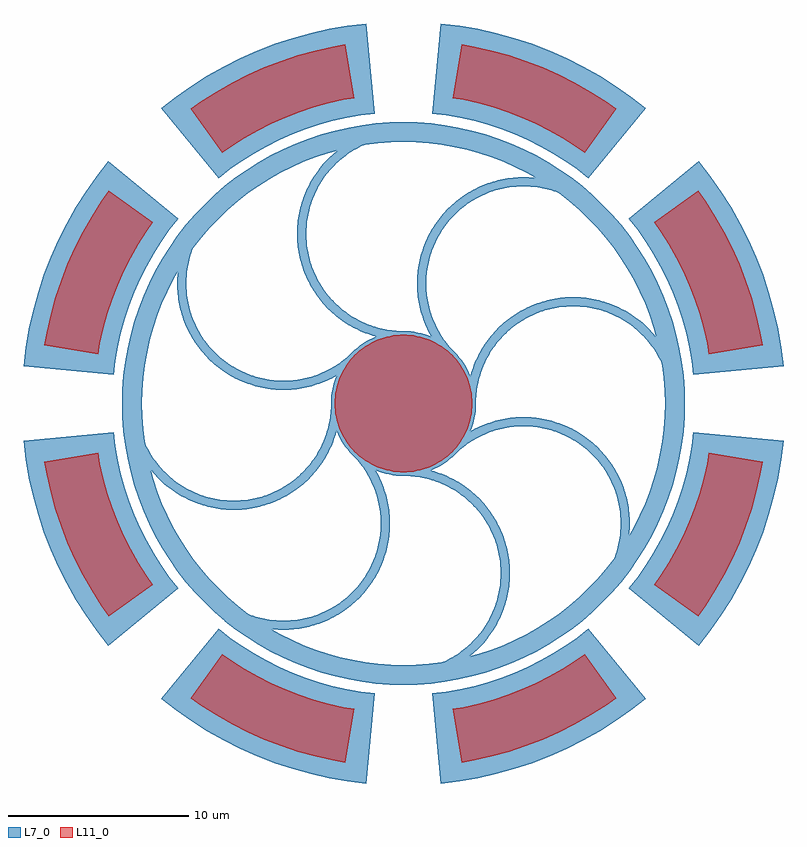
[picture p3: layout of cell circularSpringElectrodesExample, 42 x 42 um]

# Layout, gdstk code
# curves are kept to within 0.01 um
import gdstk
lib = gdstk.Library(unit=1e-6, precision=1e-09)
def P(c, l, *ps):  # polygons
    for p in ps: c.add(gdstk.Polygon(p, *l))
L7_0 = (7, 0)
L11_0 = (11, 0)

circularspringelectrodes = lib.new_cell('circularSpringElectrodesExample')
P(circularspringelectrodes, L7_0, [(-2.068,-20.998),(-3.096,-20.872),(-4.116,-20.695),(-5.127,-20.468),(-6.125,-20.191),(-7.108,-19.867),(-8.075,-19.494),(-9.021,-19.074),(-9.946,-18.609),(-10.848,-18.098),(-11.723,-17.544),(-12.569,-16.948),(-13.386,-16.311),(-10.214,-12.445),(-9.591,-12.932),(-8.945,-13.387),(-8.277,-13.809),(-7.589,-14.199),(-6.884,-14.554),(-6.161,-14.874),(-5.424,-15.159),(-4.674,-15.407),(-3.912,-15.618),(-3.141,-15.791),(-2.362,-15.926),(-1.578,-16.022)],
  [(-16.311,-13.386),(-16.948,-12.569),(-17.544,-11.723),(-18.098,-10.848),(-18.609,-9.946),(-19.074,-9.021),(-19.494,-8.075),(-19.867,-7.108),(-20.191,-6.125),(-20.468,-5.127),(-20.695,-4.116),(-20.872,-3.096),(-20.998,-2.068),(-16.022,-1.578),(-15.926,-2.362),(-15.791,-3.141),(-15.618,-3.912),(-15.407,-4.674),(-15.159,-5.424),(-14.874,-6.161),(-14.554,-6.884),(-14.199,-7.589),(-13.809,-8.277),(-13.387,-8.945),(-12.932,-9.591),(-12.445,-10.214)],
  [(0,-15.55),(-0.763,-15.531),(-1.524,-15.475),(-2.282,-15.382),(-3.034,-15.251),(-3.778,-15.084),(-4.514,-14.88),(-5.239,-14.641),(-5.951,-14.366),(-6.648,-14.057),(-7.33,-13.714),(-7.994,-13.338),(-8.639,-12.929),(-9.263,-12.49),(-9.884,-12.004),(-6.365,-11.998),(-5.971,-11.964),(-5.581,-11.901),(-4.943,-11.733),(-4.451,-11.543),(-3.98,-11.306),(-3.534,-11.024),(-3.219,-10.784),(-2.828,-10.43),(-2.559,-10.14),(-2.312,-9.831),(-2.019,-9.392),(-1.828,-9.046),(-1.614,-8.564),(-1.449,-8.063),(-1.333,-7.548),(-1.28,-7.156),(-1.254,-6.629),(-1.28,-6.102),(-1.357,-5.581),(-1.449,-5.196),(-1.568,-4.818),(-1.715,-4.451),(-1.952,-3.98),(-2.16,-3.643),(-2.392,-3.322),(-2.647,-3.019),(-2.964,-2.686),(-3.213,-2.383),(-3.528,-1.886),(-3.7,-1.519),(-3.843,-1.979),(-3.947,-2.248),(-4.127,-2.641),(-4.336,-3.02),(-4.49,-3.264),(-4.743,-3.614),(-5.022,-3.945),(-5.324,-4.255),(-5.648,-4.541),(-5.992,-4.803),(-6.355,-5.039),(-6.734,-5.248),(-6.994,-5.371),(-7.396,-5.532),(-7.808,-5.662),(-8.229,-5.762),(-8.656,-5.831),(-9.087,-5.868),(-9.375,-5.875),(-9.807,-5.859),(-10.094,-5.831),(-10.521,-5.762),(-10.942,-5.662),(-11.354,-5.532),(-11.756,-5.371),(-12.016,-5.248),(-12.395,-5.039),(-12.758,-4.803),(-13.102,-4.541),(-13.426,-4.255),(-13.728,-3.945),(-13.979,-3.649),(-13.828,-4.195),(-13.605,-4.868),(-13.35,-5.53),(-13.063,-6.178),(-12.744,-6.812),(-12.394,-7.429),(-12.015,-8.028),(-11.606,-8.608),(-11.17,-9.167),(-10.707,-9.704),(-10.218,-10.218),(-9.704,-10.707),(-9.167,-11.17),(-8.544,-11.651),(-8.063,-11.809),(-7.548,-11.925),(-7.025,-11.99),(-6.629,-12.004),(-9.884,-12.004),(-10.443,-11.522),(-10.996,-10.996),(-11.522,-10.443),(-12.02,-9.865),(-12.49,-9.263),(-12.929,-8.639),(-13.338,-7.994),(-13.714,-7.33),(-14.057,-6.648),(-14.366,-5.951),(-14.641,-5.239),(-14.88,-4.514),(-15.084,-3.778),(-15.251,-3.034),(-15.382,-2.282),(-15.475,-1.524),(-15.531,-0.763),(-15.55,0),(-14.45,0),(-14.433,-0.709),(-14.38,-1.416),(-14.28,-2.197),(-14.052,-2.649),(-13.692,-3.202),(-13.358,-3.61),(-12.886,-4.07),(-12.47,-4.395),(-12.024,-4.677),(-11.553,-4.914),(-11.186,-5.061),(-10.681,-5.214),(-10.294,-5.296),(-9.902,-5.349),(-9.375,-5.375),(-8.848,-5.349),(-8.326,-5.272),(-7.815,-5.144),(-7.318,-4.966),(-6.841,-4.74),(-6.389,-4.469),(-5.965,-4.155),(-5.574,-3.801),(-5.22,-3.41),(-4.906,-2.986),(-4.635,-2.534),(-4.409,-2.057),(-4.231,-1.56),(-4.103,-1.049),(-4.026,-0.527),(-4,0),(0,0),(0,-4),(-0.392,-3.981),(-0.78,-3.923),(-1.161,-3.828),(-1.542,-3.69),(-1.381,-3.988),(-1.201,-4.381),(-1.051,-4.786),(-0.967,-5.062),(-0.867,-5.483),(-0.798,-5.91),(-0.761,-6.341),(-0.754,-6.629),(-0.761,-6.917),(-0.798,-7.348),(-0.867,-7.775),(-0.93,-8.057),(-1.051,-8.472),(-1.201,-8.877),(-1.381,-9.271),(-1.517,-9.525),(-1.744,-9.893),(-1.998,-10.244),(-2.276,-10.575),(-2.578,-10.884),(-2.902,-11.171),(-3.246,-11.432),(-3.609,-11.668),(-3.988,-11.877),(-4.381,-12.057),(-4.786,-12.208),(-5.202,-12.328),(-5.625,-12.418),(-6.053,-12.476),(-6.485,-12.502),(-6.917,-12.497),(-7.304,-12.465),(-6.812,-12.744),(-6.178,-13.063),(-5.53,-13.35),(-4.868,-13.605),(-4.195,-13.828),(-3.511,-14.017),(-2.819,-14.172),(-2.12,-14.294),(-1.416,-14.38),(-0.709,-14.433),(0,-14.45)],
  [(2.068,-20.998),(1.578,-16.022),(2.362,-15.926),(3.141,-15.791),(3.912,-15.618),(4.674,-15.407),(5.424,-15.159),(6.161,-14.874),(6.884,-14.554),(7.589,-14.199),(8.277,-13.809),(8.945,-13.387),(9.591,-12.932),(10.214,-12.445),(13.386,-16.311),(12.569,-16.948),(11.723,-17.544),(10.848,-18.098),(9.946,-18.609),(9.021,-19.074),(8.075,-19.494),(7.108,-19.867),(6.125,-20.191),(5.127,-20.468),(4.116,-20.695),(3.096,-20.872)],
  [(10.214,-12.445),(10.214,-12.445),(10.214,-12.445)],
  [(16.311,-13.386),(12.445,-10.214),(12.932,-9.591),(13.387,-8.945),(13.809,-8.277),(14.199,-7.589),(14.554,-6.884),(14.874,-6.161),(15.159,-5.424),(15.407,-4.674),(15.618,-3.912),(15.791,-3.141),(15.926,-2.362),(16.022,-1.578),(20.998,-2.068),(20.872,-3.096),(20.695,-4.116),(20.468,-5.127),(20.191,-6.125),(19.867,-7.108),(19.494,-8.075),(19.074,-9.021),(18.609,-9.946),(18.098,-10.848),(17.544,-11.723),(16.948,-12.569)],
  [(0,-15.55),(0,-14.45),(0.709,-14.433),(1.416,-14.38),(2.12,-14.294),(2.197,-14.28),(2.298,-14.234),(2.774,-13.979),(3.649,-13.979),(4.195,-13.828),(4.868,-13.605),(5.53,-13.35),(6.178,-13.063),(6.812,-12.744),(7.429,-12.394),(8.028,-12.015),(8.608,-11.606),(9.167,-11.17),(9.704,-10.707),(10.218,-10.218),(10.707,-9.704),(11.17,-9.167),(11.651,-8.544),(11.809,-8.063),(11.925,-7.548),(11.99,-7.025),(12.004,-6.629),(11.99,-6.234),(11.946,-5.84),(11.874,-5.451),(11.733,-4.943),(11.595,-4.572),(11.43,-4.212),(11.17,-3.754),(10.946,-3.427),(10.612,-3.019),(10.335,-2.736),(10.039,-2.474),(9.615,-2.16),(9.278,-1.952),(8.807,-1.715),(8.44,-1.568),(8.063,-1.449),(7.678,-1.357),(7.287,-1.295),(6.893,-1.261),(6.497,-1.256),(6.102,-1.28),(5.71,-1.333),(5.323,-1.415),(4.943,-1.525),(4.331,-1.77),(3.98,-1.952),(3.754,-2.088),(3.219,-2.474),(2.686,-2.964),(2.383,-3.213),(1.886,-3.528),(1.519,-3.7),(1.979,-3.843),(2.381,-4.004),(2.769,-4.194),(3.143,-4.411),(3.5,-4.656),(3.837,-4.926),(4.154,-5.221),(4.449,-5.538),(4.719,-5.875),(4.964,-6.232),(5.181,-6.606),(5.371,-6.994),(5.532,-7.396),(5.662,-7.808),(5.762,-8.229),(5.831,-8.656),(5.868,-9.087),(5.868,-9.663),(5.831,-10.094),(5.762,-10.521),(5.662,-10.942),(5.532,-11.354),(5.371,-11.756),(5.112,-12.271),(4.803,-12.758),(4.449,-13.212),(4.051,-13.63),(3.649,-13.979),(2.774,-13.979),(3.095,-13.77),(3.41,-13.53),(3.706,-13.268),(3.983,-12.985),(4.317,-12.577),(4.541,-12.251),(4.74,-11.909),(4.914,-11.553),(5.061,-11.186),(5.18,-10.809),(5.272,-10.424),(5.335,-10.033),(5.369,-9.639),(5.369,-9.111),(5.335,-8.717),(5.272,-8.326),(5.144,-7.815),(5.015,-7.441),(4.801,-6.958),(4.61,-6.612),(4.395,-6.28),(4.07,-5.864),(3.801,-5.574),(3.41,-5.22),(3.095,-4.98),(2.649,-4.698),(2.178,-4.461),(1.811,-4.314),(1.306,-4.161),(0.919,-4.079),(0.527,-4.026),(0,-4),(0,0),(4,0),(3.981,-0.392),(3.923,-0.78),(3.828,-1.161),(3.69,-1.542),(3.988,-1.381),(4.381,-1.201),(4.786,-1.051),(5.062,-0.967),(5.483,-0.867),(5.91,-0.798),(6.341,-0.761),(6.629,-0.754),(6.917,-0.761),(7.348,-0.798),(7.775,-0.867),(8.057,-0.93),(8.472,-1.051),(8.877,-1.201),(9.271,-1.381),(9.525,-1.517),(9.893,-1.744),(10.244,-1.998),(10.575,-2.276),(10.884,-2.578),(11.171,-2.902),(11.432,-3.246),(11.668,-3.609),(11.877,-3.988),(12.057,-4.381),(12.208,-4.786),(12.328,-5.202),(12.418,-5.625),(12.476,-6.053),(12.502,-6.485),(12.497,-6.917),(12.465,-7.304),(12.744,-6.812),(13.063,-6.178),(13.35,-5.53),(13.605,-4.868),(13.828,-4.195),(14.017,-3.511),(14.172,-2.819),(14.294,-2.12),(14.38,-1.416),(14.433,-0.709),(14.45,0),(15.55,0),(15.531,-0.763),(15.475,-1.524),(15.382,-2.282),(15.251,-3.034),(15.084,-3.778),(14.88,-4.514),(14.641,-5.239),(14.366,-5.951),(14.057,-6.648),(13.714,-7.33),(13.338,-7.994),(12.929,-8.639),(12.49,-9.263),(12.02,-9.865),(11.522,-10.443),(10.996,-10.996),(10.443,-11.522),(9.865,-12.02),(9.263,-12.49),(8.639,-12.929),(7.994,-13.338),(7.33,-13.714),(6.648,-14.057),(5.951,-14.366),(5.239,-14.641),(4.514,-14.88),(3.778,-15.084),(3.034,-15.251),(2.282,-15.382),(1.524,-15.475),(0.763,-15.531)],
  [(-16.022,1.578),(-20.998,2.068),(-20.872,3.096),(-20.695,4.116),(-20.468,5.127),(-20.191,6.125),(-19.867,7.108),(-19.494,8.075),(-19.074,9.021),(-18.609,9.946),(-18.098,10.848),(-17.544,11.723),(-16.948,12.569),(-16.311,13.386),(-12.445,10.214),(-12.932,9.591),(-13.387,8.945),(-13.809,8.277),(-14.199,7.589),(-14.554,6.884),(-14.874,6.161),(-15.159,5.424),(-15.407,4.674),(-15.618,3.912),(-15.791,3.141),(-15.926,2.362)],
  [(-15.55,0),(-15.531,0.763),(-15.475,1.524),(-15.382,2.282),(-15.251,3.034),(-15.084,3.778),(-14.88,4.514),(-14.641,5.239),(-14.366,5.951),(-14.057,6.648),(-13.714,7.33),(-13.338,7.994),(-12.929,8.639),(-12.49,9.263),(-12.02,9.865),(-11.522,10.443),(-10.996,10.996),(-10.443,11.522),(-9.865,12.02),(-9.263,12.49),(-8.639,12.929),(-7.994,13.338),(-7.33,13.714),(-6.648,14.057),(-5.951,14.366),(-5.239,14.641),(-4.514,14.88),(-3.778,15.084),(-3.034,15.251),(-2.282,15.382),(-1.524,15.475),(-0.763,15.531),(0,15.55),(0,14.45),(-0.709,14.433),(-1.416,14.38),(-2.197,14.28),(-2.649,14.052),(-3.202,13.692),(-3.61,13.358),(-4.07,12.886),(-4.395,12.47),(-4.677,12.024),(-4.914,11.553),(-5.061,11.186),(-5.214,10.681),(-5.296,10.294),(-5.349,9.902),(-5.375,9.375),(-5.349,8.848),(-5.272,8.326),(-5.144,7.815),(-4.966,7.318),(-4.74,6.841),(-4.469,6.389),(-4.155,5.965),(-3.801,5.574),(-3.41,5.22),(-2.986,4.906),(-2.534,4.635),(-2.057,4.409),(-1.56,4.231),(-1.049,4.103),(-0.527,4.026),(0,4),(0,0),(-4,0),(-3.981,0.392),(-3.923,0.78),(-3.828,1.161),(-3.69,1.542),(-4.248,1.258),(-4.515,1.148),(-4.924,1.007),(-5.202,0.93),(-5.625,0.841),(-6.053,0.782),(-6.341,0.761),(-6.629,0.754),(-7.061,0.77),(-7.348,0.798),(-7.775,0.867),(-8.335,1.007),(-8.744,1.148),(-9.001,1.254),(-6.629,1.254),(-6.234,1.269),(-5.84,1.312),(-5.581,1.357),(-4.943,1.525),(-4.331,1.77),(-3.98,1.952),(-3.754,2.088),(-3.219,2.474),(-2.686,2.964),(-2.383,3.213),(-1.886,3.528),(-1.519,3.7),(-1.979,3.843),(-2.248,3.947),(-2.641,4.127),(-3.02,4.336),(-3.264,4.49),(-3.614,4.743),(-3.945,5.022),(-4.255,5.324),(-4.541,5.648),(-4.803,5.992),(-5.039,6.355),(-5.248,6.734),(-5.371,6.994),(-5.532,7.396),(-5.662,7.808),(-5.762,8.229),(-5.831,8.656),(-5.868,9.087),(-5.875,9.375),(-5.859,9.807),(-5.831,10.094),(-5.762,10.521),(-5.662,10.942),(-5.532,11.354),(-5.371,11.756),(-5.248,12.016),(-5.039,12.395),(-4.803,12.758),(-4.541,13.102),(-4.255,13.426),(-3.945,13.728),(-3.649,13.979),(-4.195,13.828),(-4.868,13.605),(-5.53,13.35),(-6.178,13.063),(-6.812,12.744),(-7.429,12.394),(-8.028,12.015),(-8.608,11.606),(-9.167,11.17),(-9.704,10.707),(-10.218,10.218),(-10.707,9.704),(-11.17,9.167),(-11.651,8.544),(-11.773,8.189),(-11.874,7.807),(-11.964,7.287),(-11.99,7.025),(-12.004,6.629),(-11.998,6.365),(-11.964,5.971),(-11.874,5.451),(-11.69,4.818),(-11.43,4.212),(-11.098,3.643),(-10.784,3.219),(-10.43,2.828),(-9.936,2.392),(-9.505,2.088),(-8.927,1.77),(-8.315,1.525),(-7.807,1.385),(-7.418,1.312),(-7.156,1.28),(-6.629,1.254),(-9.001,1.254),(-9.525,1.517),(-10.012,1.826),(-10.467,2.181),(-10.884,2.578),(-11.171,2.902),(-11.348,3.129),(-11.668,3.609),(-11.94,4.117),(-12.057,4.381),(-12.208,4.786),(-12.328,5.202),(-12.391,5.483),(-12.476,6.053),(-12.504,6.629),(-12.465,7.304),(-12.744,6.812),(-13.063,6.178),(-13.35,5.53),(-13.605,4.868),(-13.828,4.195),(-14.017,3.511),(-14.172,2.819),(-14.294,2.12),(-14.38,1.416),(-14.433,0.709),(-14.45,0)],
  [(-10.214,12.445),(-13.386,16.311),(-12.569,16.948),(-11.723,17.544),(-10.848,18.098),(-9.946,18.609),(-9.021,19.074),(-8.075,19.494),(-7.108,19.867),(-6.125,20.191),(-5.127,20.468),(-4.116,20.695),(-3.096,20.872),(-2.068,20.998),(-1.578,16.022),(-2.362,15.926),(-3.141,15.791),(-3.912,15.618),(-4.674,15.407),(-5.424,15.159),(-6.161,14.874),(-6.884,14.554),(-7.589,14.199),(-8.277,13.809),(-8.945,13.387),(-9.591,12.932)],
  [(16.022,1.578),(15.926,2.362),(15.791,3.141),(15.618,3.912),(15.407,4.674),(15.159,5.424),(14.874,6.161),(14.554,6.884),(14.199,7.589),(13.809,8.277),(13.387,8.945),(12.932,9.591),(12.445,10.214),(16.311,13.386),(16.948,12.569),(17.544,11.723),(18.098,10.848),(18.609,9.946),(19.074,9.021),(19.494,8.075),(19.867,7.108),(20.191,6.125),(20.468,5.127),(20.695,4.116),(20.872,3.096),(20.998,2.068)],
  [(0,0),(0,1.519),(3.7,1.519),(3.843,1.979),(3.947,2.248),(4.064,2.512),(4.263,2.896),(4.411,3.143),(4.656,3.5),(4.926,3.837),(5.221,4.154),(5.538,4.449),(5.875,4.719),(6.232,4.964),(6.479,5.112),(6.863,5.311),(7.127,5.428),(7.532,5.578),(7.947,5.699),(8.371,5.789),(8.799,5.847),(9.231,5.873),(9.663,5.868),(10.094,5.831),(10.521,5.762),(10.942,5.662),(11.354,5.532),(11.756,5.371),(12.016,5.248),(12.395,5.039),(12.758,4.803),(13.102,4.541),(13.426,4.255),(13.728,3.945),(13.979,3.649),(13.828,4.195),(13.605,4.868),(13.35,5.53),(13.063,6.178),(12.744,6.812),(12.394,7.429),(12.015,8.028),(11.606,8.608),(11.17,9.167),(10.707,9.704),(10.218,10.218),(9.704,10.707),(9.167,11.17),(8.544,11.651),(7.935,11.843),(7.287,11.964),(6.893,11.998),(6.497,12.003),(5.84,11.946),(5.451,11.874),(5.069,11.773),(4.572,11.595),(4.212,11.43),(3.866,11.239),(3.534,11.024),(3.219,10.784),(2.923,10.522),(2.647,10.239),(2.392,9.936),(2.16,9.615),(1.952,9.278),(1.77,8.927),(1.614,8.564),(1.449,8.063),(1.357,7.678),(1.295,7.287),(1.261,6.893),(1.256,6.497),(1.28,6.102),(1.333,5.71),(1.415,5.323),(1.614,4.695),(1.828,4.212),(2.16,3.643),(2.474,3.219),(2.964,2.686),(3.213,2.383),(3.528,1.886),(3.7,1.519),(0,1.519),(0,4),(0.392,3.981),(0.78,3.923),(1.161,3.828),(1.542,3.69),(1.381,3.988),(1.201,4.381),(1.051,4.786),(0.93,5.202),(0.841,5.625),(0.782,6.053),(0.761,6.341),(0.756,6.773),(0.782,7.205),(0.818,7.491),(0.897,7.916),(1.007,8.335),(1.148,8.744),(1.318,9.141),(1.517,9.525),(1.744,9.893),(1.998,10.244),(2.276,10.575),(2.578,10.884),(2.792,11.078),(3.129,11.348),(3.486,11.593),(3.733,11.741),(4.117,11.94),(4.381,12.057),(4.786,12.208),(5.202,12.328),(5.625,12.418),(6.053,12.476),(6.485,12.502),(6.917,12.497),(7.304,12.465),(6.812,12.744),(6.178,13.063),(5.53,13.35),(4.868,13.605),(4.195,13.828),(3.511,14.017),(2.819,14.172),(2.12,14.294),(1.416,14.38),(0.709,14.433),(0,14.45),(0,15.55),(0.763,15.531),(1.524,15.475),(2.282,15.382),(3.034,15.251),(3.778,15.084),(4.514,14.88),(5.239,14.641),(5.951,14.366),(6.648,14.057),(7.33,13.714),(7.994,13.338),(8.639,12.929),(9.263,12.49),(9.865,12.02),(10.443,11.522),(10.996,10.996),(11.522,10.443),(12.02,9.865),(12.49,9.263),(12.929,8.639),(13.338,7.994),(13.714,7.33),(14.057,6.648),(14.366,5.951),(14.641,5.239),(14.88,4.514),(15.084,3.778),(15.251,3.034),(15.382,2.282),(15.475,1.524),(15.531,0.763),(15.55,0),(14.45,0),(14.433,0.709),(14.38,1.416),(14.28,2.197),(14.052,2.649),(13.692,3.202),(13.358,3.61),(12.886,4.07),(12.47,4.395),(12.024,4.677),(11.553,4.914),(11.186,5.061),(10.681,5.214),(10.294,5.296),(9.902,5.349),(9.375,5.375),(8.848,5.349),(8.326,5.272),(7.815,5.144),(7.318,4.966),(6.841,4.74),(6.389,4.469),(5.965,4.155),(5.574,3.801),(5.22,3.41),(4.906,2.986),(4.635,2.534),(4.409,2.057),(4.231,1.56),(4.103,1.049),(4.026,0.527),(4,0)],
  [(10.214,12.445),(9.591,12.932),(8.945,13.387),(8.277,13.809),(7.589,14.199),(6.884,14.554),(6.161,14.874),(5.424,15.159),(4.674,15.407),(3.912,15.618),(3.141,15.791),(2.362,15.926),(1.578,16.022),(2.068,20.998),(3.096,20.872),(4.116,20.695),(5.127,20.468),(6.125,20.191),(7.108,19.867),(8.075,19.494),(9.021,19.074),(9.946,18.609),(10.848,18.098),(11.723,17.544),(12.569,16.948),(13.386,16.311)])
P(circularspringelectrodes, L11_0, [(3.207,-19.838),(2.729,-16.877),(3.336,-16.771),(4.155,-16.588),(4.964,-16.364),(5.761,-16.1),(6.544,-15.798),(7.311,-15.458),(8.061,-15.081),(8.791,-14.667),(9.5,-14.218),(10.004,-13.863),(11.76,-16.295),(11.167,-16.713),(10.333,-17.24),(9.475,-17.727),(8.594,-18.17),(7.692,-18.57),(6.771,-18.925),(5.835,-19.235),(4.884,-19.498),(3.921,-19.714)],
  [(-3.207,-19.838),(-3.921,-19.714),(-4.884,-19.498),(-5.835,-19.235),(-6.771,-18.925),(-7.692,-18.57),(-8.594,-18.17),(-9.475,-17.727),(-10.333,-17.24),(-11.167,-16.713),(-11.76,-16.295),(-10.004,-13.863),(-9.5,-14.218),(-8.791,-14.667),(-8.061,-15.081),(-7.311,-15.458),(-6.544,-15.798),(-5.761,-16.1),(-4.964,-16.364),(-4.155,-16.588),(-3.336,-16.771),(-2.729,-16.877)],
  [(16.295,-11.76),(13.863,-10.004),(14.218,-9.5),(14.667,-8.791),(15.081,-8.061),(15.458,-7.311),(15.798,-6.544),(16.1,-5.761),(16.364,-4.964),(16.588,-4.155),(16.771,-3.336),(16.877,-2.729),(19.838,-3.207),(19.714,-3.921),(19.498,-4.884),(19.235,-5.835),(18.925,-6.771),(18.57,-7.692),(18.17,-8.594),(17.727,-9.475),(17.24,-10.333),(16.713,-11.167)],
  [(-16.295,-11.76),(-16.713,-11.167),(-17.24,-10.333),(-17.727,-9.475),(-18.17,-8.594),(-18.57,-7.692),(-18.925,-6.771),(-19.235,-5.835),(-19.498,-4.884),(-19.714,-3.921),(-19.838,-3.207),(-16.877,-2.729),(-16.771,-3.336),(-16.588,-4.155),(-16.364,-4.964),(-16.1,-5.761),(-15.798,-6.544),(-15.458,-7.311),(-15.081,-8.061),(-14.667,-8.791),(-14.218,-9.5),(-13.863,-10.004)],
  [(0,-3.8),(-0.372,-3.782),(-0.741,-3.727),(-1.103,-3.636),(-1.454,-3.511),(-1.791,-3.351),(-2.111,-3.16),(-2.411,-2.937),(-2.687,-2.687),(-2.937,-2.411),(-3.16,-2.111),(-3.351,-1.791),(-3.511,-1.454),(-3.636,-1.103),(-3.727,-0.741),(-3.782,-0.372),(-3.8,0),(-3.782,0.372),(-3.727,0.741),(-3.636,1.103),(-3.511,1.454),(-3.351,1.791),(-3.16,2.111),(-2.937,2.411),(-2.687,2.687),(-2.411,2.937),(-2.111,3.16),(-1.791,3.351),(-1.454,3.511),(-1.103,3.636),(-0.741,3.727),(-0.372,3.782),(0,3.8),(0.372,3.782),(0.741,3.727),(1.103,3.636),(1.454,3.511),(1.791,3.351),(2.111,3.16),(2.411,2.937),(2.687,2.687),(2.937,2.411),(3.16,2.111),(3.351,1.791),(3.511,1.454),(3.636,1.103),(3.727,0.741),(3.782,0.372),(3.8,0),(3.782,-0.372),(3.727,-0.741),(3.636,-1.103),(3.511,-1.454),(3.351,-1.791),(3.16,-2.111),(2.937,-2.411),(2.687,-2.687),(2.411,-2.937),(2.111,-3.16),(1.791,-3.351),(1.454,-3.511),(1.103,-3.636),(0.741,-3.727),(0.372,-3.782)],
  [(16.877,2.729),(16.771,3.336),(16.588,4.155),(16.364,4.964),(16.1,5.761),(15.798,6.544),(15.458,7.311),(15.081,8.061),(14.667,8.791),(14.218,9.5),(13.863,10.004),(16.295,11.76),(16.713,11.167),(17.24,10.333),(17.727,9.475),(18.17,8.594),(18.57,7.692),(18.925,6.771),(19.235,5.835),(19.498,4.884),(19.714,3.921),(19.838,3.207)],
  [(-16.877,2.729),(-19.838,3.207),(-19.714,3.921),(-19.498,4.884),(-19.235,5.835),(-18.925,6.771),(-18.57,7.692),(-18.17,8.594),(-17.727,9.475),(-17.24,10.333),(-16.713,11.167),(-16.295,11.76),(-13.863,10.004),(-14.218,9.5),(-14.667,8.791),(-15.081,8.061),(-15.458,7.311),(-15.798,6.544),(-16.1,5.761),(-16.364,4.964),(-16.588,4.155),(-16.771,3.336)],
  [(-10.004,13.863),(-11.76,16.295),(-11.167,16.713),(-10.333,17.24),(-9.475,17.727),(-8.594,18.17),(-7.692,18.57),(-6.771,18.925),(-5.835,19.235),(-4.884,19.498),(-3.921,19.714),(-3.207,19.838),(-2.729,16.877),(-3.336,16.771),(-4.155,16.588),(-4.964,16.364),(-5.761,16.1),(-6.544,15.798),(-7.311,15.458),(-8.061,15.081),(-8.791,14.667),(-9.5,14.218)],
  [(10.004,13.863),(9.5,14.218),(8.791,14.667),(8.061,15.081),(7.311,15.458),(6.544,15.798),(5.761,16.1),(4.964,16.364),(4.155,16.588),(3.336,16.771),(2.729,16.877),(3.207,19.838),(3.921,19.714),(4.884,19.498),(5.835,19.235),(6.771,18.925),(7.692,18.57),(8.594,18.17),(9.475,17.727),(10.333,17.24),(11.167,16.713),(11.76,16.295)])

lib.write_gds('circularSpringElectrodesExample.gds')
